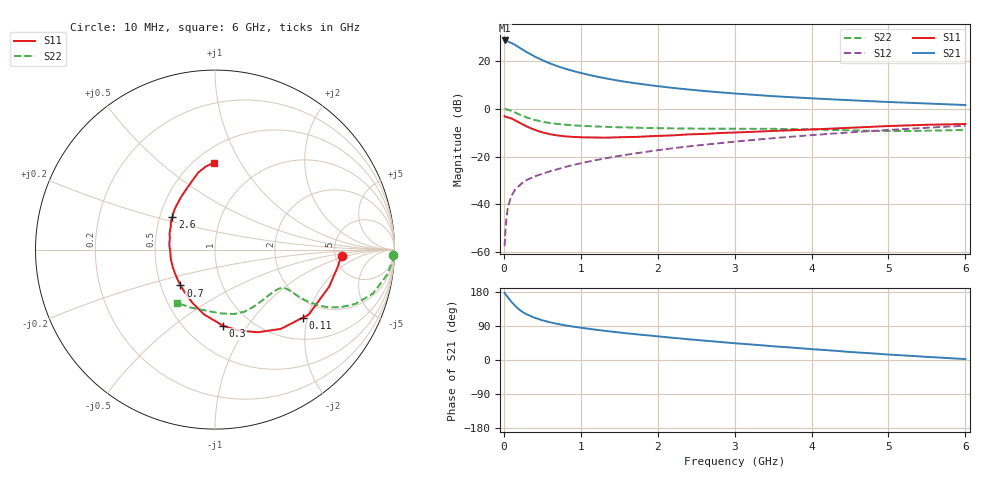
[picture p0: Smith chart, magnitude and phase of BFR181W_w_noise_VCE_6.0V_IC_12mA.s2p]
! (c) 2017  Infineon Technologies AG, Munich
! Infineon Technologies  Discrete & RF Semiconductors
! BFR181W
! VCE =  6.0 V,  IC =  12 mA
! Common Emitter S-Parameters:  Jan 2017
# GHz  S  MA  R  50
!  f  S11  S21  S12  S22
! GHz  MAG  ANG  MAG  ANG  MAG  ANG  MAG  ANG
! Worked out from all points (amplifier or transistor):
!   77 points, 10 MHz to 6 GHz, reference 50 ohm
!   highest |S21| = 28.8 dB at 10 MHz (marker M1)
!   |S21| within 3 dB of that: start of sweep to 201.5 MHz
!   unconditionally stable (mu >= 1): 946.1 MHz to 2.87 GHz
!   at 130 MHz: K = 0.30, MSG = 31.0 dB, |S12| = -34.8 dB
!   at 2.2 GHz: K = 1.05, MAG = 11.4 dB, |S12| = -16.5 dB
!   at 6 GHz: K = 0.85, MSG = 4.4 dB, |S12| = -7.1 dB
!   lowest NFmin = 1.34 dB at 450 MHz
!   S11 on the Smith chart (normalised r, x): 10 MHz: 5.69, -0.75; 110 MHz: 1.53, -1.88; 300 MHz: 0.75, -0.78; 700 MHz: 0.63, -0.27; 2.6 GHz: 0.58, +0.23; 6 GHz: 0.61, +0.77
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0.01  0.7057 -2.7  27.66 177.3  0.0013 82.3  0.9915 -1.6
0.02  0.6892 -8.4  27.13 173.8  0.0026 102.3  0.9945 -3.2
0.05  0.6689 -17.9  26.46 165.9  0.0079 83.1  0.9694 -8.3
0.1  0.6356 -34.8  24.49 153.0  0.0148 75.5  0.9124 -15.6
0.11  0.6197 -37.7  23.95 151.0  0.0159 74.0  0.8975 -16.6
0.15  0.5736 -50.4  22.11 142.2  0.0204 69.6  0.8408 -21.0
0.2  0.5188 -62.6  19.65 133.1  0.0243 67.4  0.7713 -24.6
0.25  0.4689 -74.0  17.52 125.9  0.0289 64.3  0.712 -26.9
0.3  0.4268 -83.9  15.61 120.0  0.0322 62.9  0.6611 -28.2
0.4  0.3665 -99.6  12.73 111.2  0.0381 62.6  0.5885 -29.2
0.5  0.3227 -112.8  10.62 104.8  0.0433 63.5  0.5403 -29.4
0.6  0.2945 -124.0  9.093 99.5  0.0489 63.9  0.5068 -29.0
0.7  0.2773 -133.9  7.925 95.2  0.0542 65.1  0.4841 -28.8
0.9  0.2588 -150.3  6.3 88.1  0.0662 66.7  0.4542 -28.8
1.1  0.2519 -163.9  5.244 82.5  0.0782 67.9  0.4362 -29.4
1.5  0.2542 176.1  3.927 72.8  0.1028 68.8  0.4128 -32.4
2.1  0.2748 155.0  2.897 60.5  0.1426 67.6  0.3931 -40.4
2.6  0.2987 142.5  2.395 51.2  0.1768 65.7  0.3857 -49.1
3.1  0.3246 131.7  2.065 42.8  0.2131 63.1  0.3829 -57.9
4.1  0.3768 114.3  1.646 27.3  0.2895 56.4  0.3695 -75.8
5.1  0.4433 101.2  1.382 13.2  0.3699 47.9  0.3433 -101.2
6  0.4837 90.9  1.213 2.4  0.4438 39.4  0.3646 -126.0
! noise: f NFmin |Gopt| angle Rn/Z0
0.45  1.34  0.1  16  0.21
0.9  1.38  0.1  32  0.21
1.9  1.82  0.07  -151  0.21
2.4  2.01  0.08  -113  0.26
